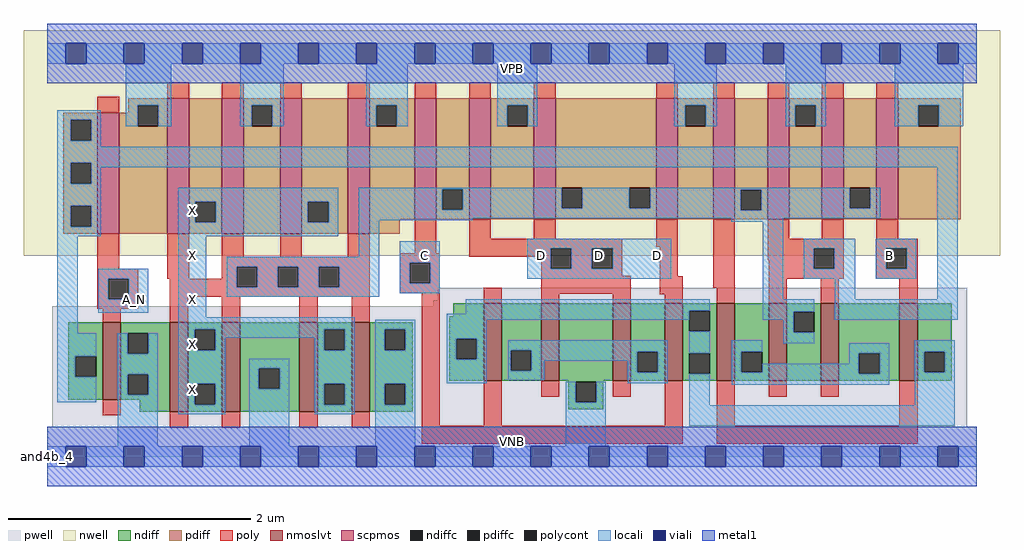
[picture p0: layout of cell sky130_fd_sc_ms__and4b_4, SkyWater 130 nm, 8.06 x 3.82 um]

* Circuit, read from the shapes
.subckt sky130_fd_sc_ms__and4b_4 A_N B C D VGND VNB VPB VPWR X
XM1 VGND A_N n1 VNB sky130_fd_pr__nfet_01v8_lvt w=0.64 l=0.15
XM2 X n2 VGND VNB sky130_fd_pr__nfet_01v8_lvt w=0.74 l=0.15 m=4
XM3 n3 C n4 VNB sky130_fd_pr__nfet_01v8_lvt w=0.64 l=0.15 m=2
XM4 VGND D n3 VNB sky130_fd_pr__nfet_01v8_lvt w=0.64 l=0.15 m=2
XM5 n5 B n4 VNB sky130_fd_pr__nfet_01v8_lvt w=0.64 l=0.15 m=2
XM6 n2 n1 n5 VNB sky130_fd_pr__nfet_01v8_lvt w=0.64 l=0.15 m=2
XM7 VPWR A_N n1 VPB sky130_fd_pr__pfet_01v8 w=1 l=0.18
XM8 X n2 VPWR VPB sky130_fd_pr__pfet_01v8 w=1.12 l=0.18 m=4
XM9 n2 C VPWR VPB sky130_fd_pr__pfet_01v8 w=1 l=0.18 m=2
XM10 VPWR D n2 VPB sky130_fd_pr__pfet_01v8 w=1 l=0.18 m=2
XM11 n2 B VPWR VPB sky130_fd_pr__pfet_01v8 w=1 l=0.18 m=2
XM12 VPWR n1 n2 VPB sky130_fd_pr__pfet_01v8 w=1 l=0.18 m=2
.ends

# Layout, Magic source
magic
tech sky130A
magscale 1 2
<< nwell >>
rect -38 332 1574 704
<< pwell >>
rect 645 258 1520 279
rect 638 248 1520 258
rect 9 49 1520 248
rect 0 0 1536 49
<< scpmos >>
rect 83 368 119 568
rect 199 368 235 592
rect 289 368 325 592
rect 385 368 421 592
rect 497 368 533 592
rect 607 392 643 592
rect 697 392 733 592
rect 804 392 840 592
rect 1006 392 1042 592
rect 1100 392 1136 592
rect 1190 392 1226 592
rect 1280 392 1316 592
rect 1370 392 1406 592
<< nmoslvt >>
rect 92 94 122 222
rect 203 74 233 222
rect 289 74 319 222
rect 417 74 447 222
rect 503 74 533 222
rect 721 125 751 253
rect 816 125 846 253
rect 934 125 964 253
rect 1020 125 1050 253
rect 1106 125 1136 253
rect 1192 125 1222 253
rect 1278 125 1308 253
rect 1408 125 1438 253
<< ndiff >>
rect 35 166 92 222
rect 35 132 47 166
rect 81 132 92 166
rect 35 94 92 132
rect 122 204 203 222
rect 122 170 133 204
rect 167 170 203 204
rect 122 136 203 170
rect 122 102 133 136
rect 167 102 203 136
rect 122 94 203 102
rect 153 74 203 94
rect 233 210 289 222
rect 233 176 244 210
rect 278 176 289 210
rect 233 120 289 176
rect 233 86 244 120
rect 278 86 289 120
rect 233 74 289 86
rect 319 146 417 222
rect 319 112 350 146
rect 384 112 417 146
rect 319 74 417 112
rect 447 210 503 222
rect 447 176 458 210
rect 492 176 503 210
rect 447 120 503 176
rect 447 86 458 120
rect 492 86 503 120
rect 447 74 503 86
rect 533 210 604 222
rect 533 176 558 210
rect 592 176 604 210
rect 533 120 604 176
rect 533 86 558 120
rect 592 86 604 120
rect 533 74 604 86
rect 671 232 721 253
rect 664 195 721 232
rect 664 161 676 195
rect 710 161 721 195
rect 664 125 721 161
rect 751 176 816 253
rect 751 142 766 176
rect 800 142 816 176
rect 751 125 816 142
rect 846 125 934 253
rect 964 173 1020 253
rect 964 139 975 173
rect 1009 139 1020 173
rect 964 125 1020 139
rect 1050 241 1106 253
rect 1050 207 1061 241
rect 1095 207 1106 241
rect 1050 171 1106 207
rect 1050 137 1061 171
rect 1095 137 1106 171
rect 1050 125 1106 137
rect 1136 173 1192 253
rect 1136 139 1147 173
rect 1181 139 1192 173
rect 1136 125 1192 139
rect 1222 239 1278 253
rect 1222 205 1233 239
rect 1267 205 1278 239
rect 1222 125 1278 205
rect 1308 171 1408 253
rect 1308 137 1341 171
rect 1375 137 1408 171
rect 1308 125 1408 137
rect 1438 173 1494 253
rect 1438 139 1449 173
rect 1483 139 1494 173
rect 1438 125 1494 139
rect 861 124 919 125
rect 861 90 873 124
rect 907 90 919 124
rect 861 78 919 90
<< pdiff >>
rect 134 580 199 592
rect 134 568 150 580
rect 27 556 83 568
rect 27 522 39 556
rect 73 522 83 556
rect 27 485 83 522
rect 27 451 39 485
rect 73 451 83 485
rect 27 414 83 451
rect 27 380 39 414
rect 73 380 83 414
rect 27 368 83 380
rect 119 546 150 568
rect 184 546 199 580
rect 119 368 199 546
rect 235 421 289 592
rect 235 387 245 421
rect 279 387 289 421
rect 235 368 289 387
rect 325 580 385 592
rect 325 546 338 580
rect 372 546 385 580
rect 325 368 385 546
rect 421 421 497 592
rect 421 387 431 421
rect 465 387 497 421
rect 421 368 497 387
rect 533 580 607 592
rect 533 546 544 580
rect 578 546 607 580
rect 533 392 607 546
rect 643 442 697 592
rect 643 408 653 442
rect 687 408 697 442
rect 643 392 697 408
rect 733 580 804 592
rect 733 546 760 580
rect 794 546 804 580
rect 733 392 804 546
rect 840 444 1006 592
rect 840 410 850 444
rect 884 410 962 444
rect 996 410 1006 444
rect 840 392 1006 410
rect 1042 580 1100 592
rect 1042 546 1054 580
rect 1088 546 1100 580
rect 1042 392 1100 546
rect 1136 441 1190 592
rect 1136 407 1146 441
rect 1180 407 1190 441
rect 1136 392 1190 407
rect 1226 580 1280 592
rect 1226 546 1236 580
rect 1270 546 1280 580
rect 1226 392 1280 546
rect 1316 444 1370 592
rect 1316 410 1326 444
rect 1360 410 1370 444
rect 1316 392 1370 410
rect 1406 580 1509 592
rect 1406 546 1439 580
rect 1473 546 1509 580
rect 1406 392 1509 546
rect 533 368 583 392
<< ndiffc >>
rect 47 132 81 166
rect 133 170 167 204
rect 133 102 167 136
rect 244 176 278 210
rect 244 86 278 120
rect 350 112 384 146
rect 458 176 492 210
rect 458 86 492 120
rect 558 176 592 210
rect 558 86 592 120
rect 676 161 710 195
rect 766 142 800 176
rect 975 139 1009 173
rect 1061 207 1095 241
rect 1061 137 1095 171
rect 1147 139 1181 173
rect 1233 205 1267 239
rect 1341 137 1375 171
rect 1449 139 1483 173
rect 873 90 907 124
<< pdiffc >>
rect 39 522 73 556
rect 39 451 73 485
rect 39 380 73 414
rect 150 546 184 580
rect 245 387 279 421
rect 338 546 372 580
rect 431 387 465 421
rect 544 546 578 580
rect 653 408 687 442
rect 760 546 794 580
rect 850 410 884 444
rect 962 410 996 444
rect 1054 546 1088 580
rect 1146 407 1180 441
rect 1236 546 1270 580
rect 1326 410 1360 444
rect 1439 546 1473 580
<< poly >>
rect 83 568 119 594
rect 199 592 235 618
rect 289 592 325 618
rect 385 592 421 618
rect 497 592 533 618
rect 607 592 643 618
rect 697 592 733 618
rect 804 592 840 618
rect 1006 592 1042 618
rect 1100 592 1136 618
rect 1190 592 1226 618
rect 1280 592 1316 618
rect 1370 592 1406 618
rect 83 310 119 368
rect 83 294 151 310
rect 199 294 235 368
rect 289 330 325 368
rect 385 330 421 368
rect 497 330 533 368
rect 607 336 643 392
rect 697 360 733 392
rect 804 360 840 392
rect 697 344 950 360
rect 1006 347 1042 392
rect 289 314 533 330
rect 289 294 313 314
rect 83 260 101 294
rect 135 260 151 294
rect 83 244 151 260
rect 203 280 313 294
rect 347 280 381 314
rect 415 280 449 314
rect 483 280 533 314
rect 203 264 533 280
rect 583 320 649 336
rect 697 330 832 344
rect 583 286 599 320
rect 633 286 649 320
rect 583 270 649 286
rect 816 310 832 330
rect 866 310 900 344
rect 934 310 950 344
rect 816 299 950 310
rect 92 222 122 244
rect 203 222 233 264
rect 289 222 319 264
rect 417 222 447 264
rect 503 222 533 264
rect 92 68 122 94
rect 203 48 233 74
rect 289 48 319 74
rect 417 48 447 74
rect 503 48 533 74
rect 619 51 649 270
rect 721 253 751 279
rect 816 269 964 299
rect 816 253 846 269
rect 934 253 964 269
rect 1012 298 1042 347
rect 1012 268 1050 298
rect 1100 279 1136 392
rect 1190 360 1226 392
rect 1280 360 1316 392
rect 1190 344 1316 360
rect 1190 324 1266 344
rect 1020 253 1050 268
rect 1106 253 1136 279
rect 1192 310 1266 324
rect 1300 310 1316 344
rect 1192 294 1316 310
rect 1370 360 1406 392
rect 1370 344 1438 360
rect 1370 310 1386 344
rect 1420 310 1438 344
rect 1370 294 1438 310
rect 1192 253 1222 294
rect 1278 253 1308 294
rect 1408 253 1438 294
rect 721 51 751 125
rect 816 99 846 125
rect 934 99 964 125
rect 1020 51 1050 125
rect 619 21 1050 51
rect 1106 51 1136 125
rect 1192 99 1222 125
rect 1278 99 1308 125
rect 1408 51 1438 125
rect 1106 21 1438 51
<< polycont >>
rect 101 260 135 294
rect 313 280 347 314
rect 381 280 415 314
rect 449 280 483 314
rect 599 286 633 320
rect 832 310 866 344
rect 900 310 934 344
rect 1266 310 1300 344
rect 1386 310 1420 344
<< locali >>
rect 0 649 31 683
rect 65 649 127 683
rect 161 649 223 683
rect 257 649 319 683
rect 353 649 415 683
rect 449 649 511 683
rect 545 649 607 683
rect 641 649 703 683
rect 737 649 799 683
rect 833 649 895 683
rect 929 649 991 683
rect 1025 649 1087 683
rect 1121 649 1183 683
rect 1217 649 1279 683
rect 1313 649 1375 683
rect 1409 649 1471 683
rect 1505 649 1536 683
rect 130 580 205 649
rect 17 556 89 572
rect 17 522 39 556
rect 73 522 89 556
rect 130 546 150 580
rect 184 546 205 580
rect 319 580 391 649
rect 319 546 338 580
rect 372 546 391 580
rect 527 580 596 649
rect 527 546 544 580
rect 578 546 596 580
rect 744 580 810 649
rect 744 546 760 580
rect 794 546 810 580
rect 1036 580 1106 649
rect 1036 546 1054 580
rect 1088 546 1106 580
rect 1220 580 1286 649
rect 1220 546 1236 580
rect 1270 546 1286 580
rect 1400 580 1513 649
rect 1400 546 1439 580
rect 1473 546 1513 580
rect 17 512 89 522
rect 17 485 1504 512
rect 17 451 39 485
rect 73 478 1504 485
rect 73 451 89 478
rect 17 414 89 451
rect 17 380 39 414
rect 73 380 89 414
rect 17 364 89 380
rect 217 421 481 444
rect 217 387 245 421
rect 279 387 431 421
rect 465 387 481 421
rect 217 364 481 387
rect 515 442 850 444
rect 515 408 653 442
rect 687 410 850 442
rect 884 410 962 444
rect 996 441 1326 444
rect 996 410 1146 441
rect 687 408 1146 410
rect 515 407 1146 408
rect 1180 410 1326 441
rect 1360 410 1376 444
rect 1180 407 1376 410
rect 515 394 1376 407
rect 515 390 703 394
rect 17 204 51 364
rect 85 294 167 310
rect 85 260 101 294
rect 135 260 167 294
rect 85 238 167 260
rect 217 230 263 364
rect 515 330 549 390
rect 1130 388 1216 394
rect 297 314 549 330
rect 297 280 313 314
rect 347 280 381 314
rect 415 280 449 314
rect 483 280 549 314
rect 297 264 549 280
rect 583 320 649 356
rect 583 286 599 320
rect 633 286 649 320
rect 793 344 1031 360
rect 793 310 832 344
rect 866 310 900 344
rect 934 310 1031 344
rect 793 294 1031 310
rect 583 270 649 286
rect 1182 260 1216 388
rect 1250 344 1335 360
rect 1250 310 1266 344
rect 1300 310 1335 344
rect 1250 294 1335 310
rect 1369 344 1436 360
rect 1369 310 1386 344
rect 1420 310 1436 344
rect 1369 294 1436 310
rect 1301 260 1335 294
rect 1470 260 1504 478
rect 692 241 1095 260
rect 692 236 1061 241
rect 217 210 508 230
rect 660 226 1061 236
rect 17 166 81 204
rect 17 132 47 166
rect 17 90 81 132
rect 117 170 133 204
rect 167 170 183 204
rect 117 136 183 170
rect 117 102 133 136
rect 167 102 183 136
rect 117 17 183 102
rect 217 176 244 210
rect 278 196 458 210
rect 278 176 294 196
rect 217 120 294 176
rect 442 176 458 196
rect 492 176 508 210
rect 217 86 244 120
rect 278 86 294 120
rect 217 70 294 86
rect 334 146 400 162
rect 334 112 350 146
rect 384 112 400 146
rect 334 17 400 112
rect 442 120 508 176
rect 442 86 458 120
rect 492 86 508 120
rect 442 70 508 86
rect 542 210 608 226
rect 542 176 558 210
rect 592 176 608 210
rect 542 120 608 176
rect 660 195 726 226
rect 660 161 676 195
rect 710 161 726 195
rect 1182 239 1267 260
rect 1182 226 1233 239
rect 660 121 726 161
rect 762 176 1025 192
rect 762 142 766 176
rect 800 173 1025 176
rect 800 158 975 173
rect 800 142 821 158
rect 762 126 821 142
rect 959 139 975 158
rect 1009 139 1025 173
rect 542 86 558 120
rect 592 86 608 120
rect 542 17 608 86
rect 857 90 873 124
rect 907 90 923 124
rect 959 121 1025 139
rect 1061 171 1095 207
rect 1216 205 1233 226
rect 1301 226 1504 260
rect 857 17 923 90
rect 1061 85 1095 137
rect 1131 173 1181 192
rect 1216 187 1267 205
rect 1131 139 1147 173
rect 1325 171 1391 187
rect 1325 153 1341 171
rect 1181 139 1341 153
rect 1131 137 1341 139
rect 1375 137 1391 171
rect 1131 119 1391 137
rect 1433 173 1499 192
rect 1433 139 1449 173
rect 1483 139 1499 173
rect 1433 85 1499 139
rect 1061 51 1499 85
rect 0 -17 31 17
rect 65 -17 127 17
rect 161 -17 223 17
rect 257 -17 319 17
rect 353 -17 415 17
rect 449 -17 511 17
rect 545 -17 607 17
rect 641 -17 703 17
rect 737 -17 799 17
rect 833 -17 895 17
rect 929 -17 991 17
rect 1025 -17 1087 17
rect 1121 -17 1183 17
rect 1217 -17 1279 17
rect 1313 -17 1375 17
rect 1409 -17 1471 17
rect 1505 -17 1536 17
<< viali >>
rect 31 649 65 683
rect 127 649 161 683
rect 223 649 257 683
rect 319 649 353 683
rect 415 649 449 683
rect 511 649 545 683
rect 607 649 641 683
rect 703 649 737 683
rect 799 649 833 683
rect 895 649 929 683
rect 991 649 1025 683
rect 1087 649 1121 683
rect 1183 649 1217 683
rect 1279 649 1313 683
rect 1375 649 1409 683
rect 1471 649 1505 683
rect 31 -17 65 17
rect 127 -17 161 17
rect 223 -17 257 17
rect 319 -17 353 17
rect 415 -17 449 17
rect 511 -17 545 17
rect 607 -17 641 17
rect 703 -17 737 17
rect 799 -17 833 17
rect 895 -17 929 17
rect 991 -17 1025 17
rect 1087 -17 1121 17
rect 1183 -17 1217 17
rect 1279 -17 1313 17
rect 1375 -17 1409 17
rect 1471 -17 1505 17
<< metal1 >>
rect 0 683 1536 715
rect 0 649 31 683
rect 65 649 127 683
rect 161 649 223 683
rect 257 649 319 683
rect 353 649 415 683
rect 449 649 511 683
rect 545 649 607 683
rect 641 649 703 683
rect 737 649 799 683
rect 833 649 895 683
rect 929 649 991 683
rect 1025 649 1087 683
rect 1121 649 1183 683
rect 1217 649 1279 683
rect 1313 649 1375 683
rect 1409 649 1471 683
rect 1505 649 1536 683
rect 0 617 1536 649
rect 0 17 1536 49
rect 0 -17 31 17
rect 65 -17 127 17
rect 161 -17 223 17
rect 257 -17 319 17
rect 353 -17 415 17
rect 449 -17 511 17
rect 545 -17 607 17
rect 641 -17 703 17
rect 737 -17 799 17
rect 833 -17 895 17
rect 929 -17 991 17
rect 1025 -17 1087 17
rect 1121 -17 1183 17
rect 1217 -17 1279 17
rect 1313 -17 1375 17
rect 1409 -17 1471 17
rect 1505 -17 1536 17
rect 0 -49 1536 -17
<< labels >>
flabel pwell s 0 0 1536 49 0 FreeSans 200 0 0 0 VNB
port 6 nsew ground bidirectional
flabel nwell s 0 617 1536 666 0 FreeSans 200 0 0 0 VPB
port 7 nsew power bidirectional
rlabel comment s 0 0 0 0 4 and4b_4
flabel metal1 s 0 617 1536 666 0 FreeSans 340 0 0 0 VPWR
port 8 nsew power bidirectional
flabel metal1 s 0 0 1536 49 0 FreeSans 340 0 0 0 VGND
port 5 nsew ground bidirectional
flabel locali s 127 242 161 276 0 FreeSans 340 0 0 0 A_N
port 1 nsew signal input
flabel locali s 799 316 833 350 0 FreeSans 340 0 0 0 D
port 4 nsew signal input
flabel locali s 895 316 929 350 0 FreeSans 340 0 0 0 D
port 4 nsew signal input
flabel locali s 991 316 1025 350 0 FreeSans 340 0 0 0 D
port 4 nsew signal input
flabel locali s 607 316 641 350 0 FreeSans 340 0 0 0 C
port 3 nsew signal input
flabel locali s 1375 316 1409 350 0 FreeSans 340 0 0 0 B
port 2 nsew signal input
flabel locali s 223 94 257 128 0 FreeSans 340 0 0 0 X
port 9 nsew signal output
flabel locali s 223 168 257 202 0 FreeSans 340 0 0 0 X
port 9 nsew signal output
flabel locali s 223 242 257 276 0 FreeSans 340 0 0 0 X
port 9 nsew signal output
flabel locali s 223 316 257 350 0 FreeSans 340 0 0 0 X
port 9 nsew signal output
flabel locali s 223 390 257 424 0 FreeSans 340 0 0 0 X
port 9 nsew signal output
<< properties >>
string LEFsite unit
string LEFclass CORE
string FIXED_BBOX 0 0 1536 666
string GDS_FILE $PDKPATH/libs.ref/sky130_fd_sc_ms/gds/sky130_fd_sc_ms.gds
string LEFsymmetry X Y
string GDS_END 3223778
string GDS_START 3212952
<< end >>
